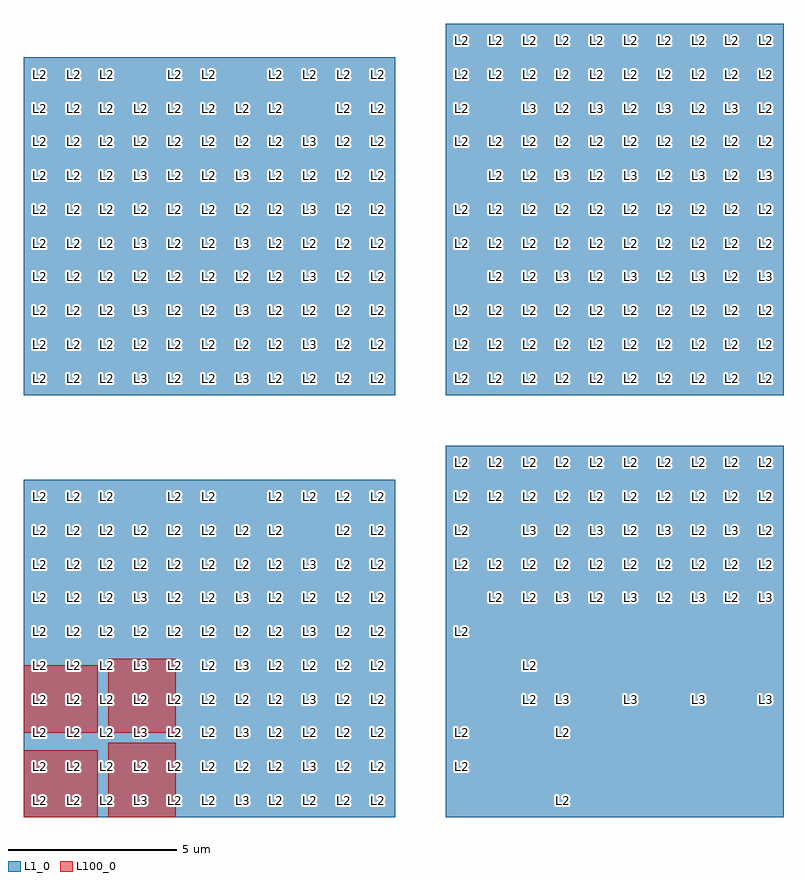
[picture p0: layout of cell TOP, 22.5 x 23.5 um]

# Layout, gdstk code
from math import pi, radians
import gdstk
lib = gdstk.Library(unit=1e-6, precision=1e-09)
def R(c, l, rs):  # rectangles x0, y0, x1, y1
    for r in rs: c.add(gdstk.rectangle(r[:2], r[2:], *l))
def A(c, l, x, y, w, h, nx, ny, dx, dy):  # array of equal rectangles
    R(c, l, [(x+i*dx, y+j*dy, x+i*dx+w, y+j*dy+h) for i in range(nx) for j in range(ny)])
L1_0 = (1, 0)
L100_0 = (100, 0)

c_a = lib.new_cell('A')
R(c_a, L1_0, [(0,0,1,1)])
c_a.add(gdstk.Label('L2', (0.5,0.5), layer=2, texttype=0))

c_b = lib.new_cell('B')
R(c_b, L1_0, [(1,-1,2,0)])
c_b.add(gdstk.Reference(c_a, (-2,0), rotation=pi/2, x_reflection=True))
c_b.add(gdstk.Reference(c_a, (0,0)))
c_b.add(gdstk.Reference(c_a, (1,0)))

c_c = lib.new_cell('C')
R(c_c, L1_0, [(-2.5,-1,-1.5,0), (2.5,0,3.5,1)])
c_c.add(gdstk.Reference(c_a, (-5.5,-1)))
r = gdstk.Reference(c_a, (5.5,-1), rotation=pi/2); r.repetition = gdstk.Repetition(2, 4, v1=(0,1), v2=(-3,0)); c_c.add(r)
c_c.add(gdstk.Reference(c_a, (-3.5,0)))
r = gdstk.Reference(c_a, (3.5,0), rotation=pi); r.repetition = gdstk.Repetition(3, 1, v1=(-3,0), v2=(0,0)); c_c.add(r)
c_c.add(gdstk.Reference(c_a, (-5.5,0)))
c_c.add(gdstk.Reference(c_a, (3.5,0)))
c_c.add(gdstk.Reference(c_a, (3.5,-1)))
c_c.add(gdstk.Reference(c_b, (-0.5,0)))

c_d = lib.new_cell('D')
R(c_d, L1_0, [(3,0,4,1), (6,0,7,1), (8,1,9,2), (3,4,4,5), (6,4,7,5), (8,5,9,6)])
c_d.add(gdstk.Reference(c_a, (0,0)))
r = gdstk.Reference(c_a, (11,0), rotation=pi/2); r.repetition = gdstk.Repetition(2, 4, v1=(0,1), v2=(-3,0)); c_d.add(r)
c_d.add(gdstk.Reference(c_a, (3,1), rotation=pi/2, x_reflection=True))
c_d.add(gdstk.Reference(c_a, (2,1)))
r = gdstk.Reference(c_a, (9,1), rotation=pi); r.repetition = gdstk.Repetition(3, 1, v1=(-3,0), v2=(0,0)); c_d.add(r)
c_d.add(gdstk.Reference(c_a, (0,1)))
c_d.add(gdstk.Reference(c_a, (5,1)))
c_d.add(gdstk.Reference(c_a, (6,1)))
c_d.add(gdstk.Reference(c_a, (9,1)))
c_d.add(gdstk.Reference(c_a, (9,0)))
c_d.add(gdstk.Reference(c_a, (0,4)))
r = gdstk.Reference(c_a, (11,4), rotation=pi/2); r.repetition = gdstk.Repetition(2, 4, v1=(0,1), v2=(-3,0)); c_d.add(r)
c_d.add(gdstk.Reference(c_a, (3,5), rotation=pi/2, x_reflection=True))
c_d.add(gdstk.Reference(c_a, (2,5)))
r = gdstk.Reference(c_a, (9,5), rotation=pi); r.repetition = gdstk.Repetition(3, 1, v1=(-3,0), v2=(0,0)); c_d.add(r)
c_d.add(gdstk.Reference(c_a, (0,5)))
c_d.add(gdstk.Reference(c_a, (5,5)))
c_d.add(gdstk.Reference(c_a, (6,5)))
c_d.add(gdstk.Reference(c_a, (9,5)))
c_d.add(gdstk.Reference(c_a, (9,4)))
r = gdstk.Reference(c_c, (5.5,3)); r.repetition = gdstk.Repetition(1, 2, v1=(0,0), v2=(0,4)); c_d.add(r)
c_d.add(gdstk.Reference(c_c, (5.5,9), x_reflection=True))
c_d.add(gdstk.Label('L3', (3.5,0.5), layer=2, texttype=0))
c_d.add(gdstk.Label('L3', (6.5,0.5), layer=2, texttype=0))
c_d.add(gdstk.Label('L3', (8.5,1.5), layer=2, texttype=0))
c_d.add(gdstk.Label('L3', (6.5,2.5), layer=2, texttype=0))
c_d.add(gdstk.Label('L3', (3.5,2.5), layer=2, texttype=0))
c_d.add(gdstk.Label('L3', (3.5,4.5), layer=2, texttype=0))
c_d.add(gdstk.Label('L3', (6.5,4.5), layer=2, texttype=0))
c_d.add(gdstk.Label('L3', (8.5,3.5), layer=2, texttype=0))
c_d.add(gdstk.Label('L3', (8.5,5.5), layer=2, texttype=0))
c_d.add(gdstk.Label('L3', (6.5,6.5), layer=2, texttype=0))
c_d.add(gdstk.Label('L3', (8.5,7.5), layer=2, texttype=0))
c_d.add(gdstk.Label('L3', (3.5,6.5), layer=2, texttype=0))

top = lib.new_cell('TOP')
R(top, L1_0, [(3,0,4,1), (6,0,7,1), (8,1,9,2), (17.5,3,18.5,4), (21.5,3,22.5,4), (3,4,4,5), (6,4,7,5), (8,5,9,6), (17.5,6,18.5,7), (21.5,6,22.5,7), (16.5,8,17.5,9), (20.5,8,21.5,9)])
A(top, L100_0, 0, 0, 0.209, 0.209, 6, 5, 0.399, 0.399)
A(top, L100_0, 0.209, 0, 0.19, 0.209, 5, 5, 0.399, 0.399)
A(top, L100_0, 2.508, 0, 0.19, 0.209, 5, 6, 0.399, 0.399)
A(top, L100_0, 2.698, 0, 0.209, 0.209, 5, 6, 0.399, 0.399)
A(top, L100_0, 0, 0.209, 0.209, 0.19, 6, 5, 0.399, 0.399)
A(top, L100_0, 0.209, 0.209, 0.19, 0.19, 5, 5, 0.399, 0.399)
A(top, L100_0, 2.508, 0.209, 0.19, 0.19, 5, 5, 0.399, 0.399)
A(top, L100_0, 2.698, 0.209, 0.209, 0.19, 5, 5, 0.399, 0.399)
A(top, L100_0, 0, 2.508, 0.209, 0.19, 6, 5, 0.399, 0.399)
A(top, L100_0, 0.209, 2.508, 0.19, 0.19, 5, 5, 0.399, 0.399)
A(top, L100_0, 2.508, 2.508, 0.19, 0.19, 5, 6, 0.399, 0.399)
A(top, L100_0, 2.698, 2.508, 0.209, 0.19, 5, 6, 0.399, 0.399)
A(top, L100_0, 0, 2.698, 0.209, 0.209, 6, 5, 0.399, 0.399)
A(top, L100_0, 0.209, 2.698, 0.19, 0.209, 5, 5, 0.399, 0.399)
A(top, L100_0, 2.508, 2.698, 0.19, 0.209, 5, 5, 0.399, 0.399)
A(top, L100_0, 2.698, 2.698, 0.209, 0.209, 5, 5, 0.399, 0.399)
top.add(gdstk.Reference(c_a, (0,0)))
r = gdstk.Reference(c_a, (11,0), rotation=pi/2); r.repetition = gdstk.Repetition(2, 4, v1=(0,1), v2=(-3,0)); top.add(r)
top.add(gdstk.Reference(c_a, (3,1), rotation=pi/2, x_reflection=True))
top.add(gdstk.Reference(c_a, (2,1)))
r = gdstk.Reference(c_a, (9,1), rotation=pi); r.repetition = gdstk.Repetition(3, 1, v1=(-3,0), v2=(0,0)); top.add(r)
top.add(gdstk.Reference(c_a, (0,1)))
top.add(gdstk.Reference(c_a, (5,1)))
top.add(gdstk.Reference(c_a, (6,1)))
top.add(gdstk.Reference(c_a, (9,1)))
top.add(gdstk.Reference(c_a, (9,0)))
top.add(gdstk.Reference(c_a, (0,4)))
r = gdstk.Reference(c_a, (11,4), rotation=pi/2); r.repetition = gdstk.Repetition(2, 4, v1=(0,1), v2=(-3,0)); top.add(r)
top.add(gdstk.Reference(c_a, (3,5), rotation=pi/2, x_reflection=True))
top.add(gdstk.Reference(c_a, (2,5)))
r = gdstk.Reference(c_a, (9,5), rotation=pi); r.repetition = gdstk.Repetition(3, 1, v1=(-3,0), v2=(0,0)); top.add(r)
top.add(gdstk.Reference(c_a, (0,5)))
top.add(gdstk.Reference(c_a, (5,5)))
top.add(gdstk.Reference(c_a, (6,5)))
top.add(gdstk.Reference(c_a, (9,5)))
top.add(gdstk.Reference(c_a, (9,4)))
r = gdstk.Reference(c_c, (5.5,3)); r.repetition = gdstk.Repetition(1, 2, v1=(0,0), v2=(0,4)); top.add(r)
top.add(gdstk.Reference(c_c, (5.5,9), x_reflection=True))
top.add(gdstk.Reference(c_a, (22.5,0), rotation=pi/2))
r = gdstk.Reference(c_a, (22.5,11), rotation=pi); r.repetition = gdstk.Repetition(2, 4, v1=(-1,0), v2=(0,-3)); top.add(r)
top.add(gdstk.Reference(c_a, (21.5,3), rotation=pi, x_reflection=True))
top.add(gdstk.Reference(c_a, (21.5,2), rotation=pi/2))
r = gdstk.Reference(c_a, (21.5,9), rotation=3*pi/2); r.repetition = gdstk.Repetition(3, 1, v1=(0,-3), v2=(0,0)); top.add(r)
top.add(gdstk.Reference(c_a, (21.5,0), rotation=pi/2))
top.add(gdstk.Reference(c_a, (21.5,5), rotation=pi/2))
top.add(gdstk.Reference(c_a, (21.5,6), rotation=pi/2))
top.add(gdstk.Reference(c_a, (21.5,9), rotation=pi/2))
top.add(gdstk.Reference(c_a, (22.5,9), rotation=pi/2))
top.add(gdstk.Reference(c_a, (18.5,0), rotation=pi/2))
r = gdstk.Reference(c_a, (18.5,11), rotation=pi); r.repetition = gdstk.Repetition(2, 4, v1=(-1,0), v2=(0,-3)); top.add(r)
top.add(gdstk.Reference(c_a, (17.5,3), rotation=pi, x_reflection=True))
top.add(gdstk.Reference(c_a, (17.5,2), rotation=pi/2))
r = gdstk.Reference(c_a, (17.5,9), rotation=3*pi/2); r.repetition = gdstk.Repetition(3, 1, v1=(0,-3), v2=(0,0)); top.add(r)
top.add(gdstk.Reference(c_a, (17.5,0), rotation=pi/2))
top.add(gdstk.Reference(c_a, (17.5,5), rotation=pi/2))
top.add(gdstk.Reference(c_a, (17.5,6), rotation=pi/2))
top.add(gdstk.Reference(c_a, (17.5,9), rotation=pi/2))
top.add(gdstk.Reference(c_a, (18.5,9), rotation=pi/2))
r = gdstk.Reference(c_c, (19.5,5.5), rotation=pi/2); r.repetition = gdstk.Repetition(1, 2, v1=(0,0), v2=(-4,0)); top.add(r)
top.add(gdstk.Reference(c_c, (13.5,5.5), rotation=pi/2, x_reflection=True))
top.add(gdstk.Reference(c_d, (22.5,12.5), rotation=pi/2))
top.add(gdstk.Reference(c_d, (0,12.5)))
top.add(gdstk.Label('L3', (22,6.5), layer=2, texttype=0))
top.add(gdstk.Label('L3', (21,8.5), layer=2, texttype=0))
top.add(gdstk.Label('L3', (20,6.5), layer=2, texttype=0))
top.add(gdstk.Label('L3', (18,6.5), layer=2, texttype=0))
top.add(gdstk.Label('L3', (19,8.5), layer=2, texttype=0))
top.add(gdstk.Label('L3', (17,8.5), layer=2, texttype=0))
top.add(gdstk.Label('L3', (16,6.5), layer=2, texttype=0))
top.add(gdstk.Label('L3', (15,8.5), layer=2, texttype=0))
top.add(gdstk.Label('L3', (16,3.5), layer=2, texttype=0))
top.add(gdstk.Label('L3', (18,3.5), layer=2, texttype=0))
top.add(gdstk.Label('L3', (22,3.5), layer=2, texttype=0))
top.add(gdstk.Label('L3', (20,3.5), layer=2, texttype=0))
top.add(gdstk.Label('L3', (3.5,0.5), layer=2, texttype=0))
top.add(gdstk.Label('L3', (6.5,0.5), layer=2, texttype=0))
top.add(gdstk.Label('L3', (8.5,1.5), layer=2, texttype=0))
top.add(gdstk.Label('L3', (6.5,2.5), layer=2, texttype=0))
top.add(gdstk.Label('L3', (3.5,2.5), layer=2, texttype=0))
top.add(gdstk.Label('L3', (3.5,4.5), layer=2, texttype=0))
top.add(gdstk.Label('L3', (6.5,4.5), layer=2, texttype=0))
top.add(gdstk.Label('L3', (8.5,3.5), layer=2, texttype=0))
top.add(gdstk.Label('L3', (8.5,5.5), layer=2, texttype=0))
top.add(gdstk.Label('L3', (6.5,6.5), layer=2, texttype=0))
top.add(gdstk.Label('L3', (8.5,7.5), layer=2, texttype=0))
top.add(gdstk.Label('L3', (3.5,6.5), layer=2, texttype=0))
top.add(gdstk.Label('L3', (22,19), layer=3, texttype=0))
top.add(gdstk.Label('L3', (21,21), layer=3, texttype=0))
top.add(gdstk.Label('L3', (20,19), layer=3, texttype=0))
top.add(gdstk.Label('L3', (18,19), layer=3, texttype=0))
top.add(gdstk.Label('L3', (19,21), layer=3, texttype=0))
top.add(gdstk.Label('L3', (17,21), layer=3, texttype=0))
top.add(gdstk.Label('L2', (22,20), layer=3, texttype=0))
top.add(gdstk.Label('L2', (22,23), layer=3, texttype=0))
top.add(gdstk.Label('L2', (21,20), layer=3, texttype=0))
top.add(gdstk.Label('L2', (21,23), layer=3, texttype=0))
top.add(gdstk.Label('L2', (22,18), layer=3, texttype=0))
top.add(gdstk.Label('L2', (22,21), layer=3, texttype=0))
top.add(gdstk.Label('L2', (21,18), layer=3, texttype=0))
top.add(gdstk.Label('L2', (21,19), layer=3, texttype=0))
top.add(gdstk.Label('L2', (21,22), layer=3, texttype=0))
top.add(gdstk.Label('L2', (22,22), layer=3, texttype=0))
top.add(gdstk.Label('L2', (18,20), layer=3, texttype=0))
top.add(gdstk.Label('L2', (18,23), layer=3, texttype=0))
top.add(gdstk.Label('L2', (17,20), layer=3, texttype=0))
top.add(gdstk.Label('L2', (17,23), layer=3, texttype=0))
top.add(gdstk.Label('L2', (18,18), layer=3, texttype=0))
top.add(gdstk.Label('L2', (18,21), layer=3, texttype=0))
top.add(gdstk.Label('L2', (17,18), layer=3, texttype=0))
top.add(gdstk.Label('L2', (17,19), layer=3, texttype=0))
top.add(gdstk.Label('L2', (17,22), layer=3, texttype=0))
top.add(gdstk.Label('L2', (18,22), layer=3, texttype=0))
top.add(gdstk.Label('L2', (20,20), layer=3, texttype=0))
top.add(gdstk.Label('L2', (20,23), layer=3, texttype=0))
top.add(gdstk.Label('L2', (19,20), layer=3, texttype=0))
top.add(gdstk.Label('L2', (19,23), layer=3, texttype=0))
top.add(gdstk.Label('L2', (20,18), layer=3, texttype=0))
top.add(gdstk.Label('L2', (20,21), layer=3, texttype=0))
top.add(gdstk.Label('L2', (19,22), layer=3, texttype=0))
top.add(gdstk.Label('L2', (20,22), layer=3, texttype=0))
top.add(gdstk.Label('L2', (19,18), layer=3, texttype=0))
top.add(gdstk.Label('L2', (19,19), layer=3, texttype=0))
top.add(gdstk.Label('L3', (16,19), layer=3, texttype=0))
top.add(gdstk.Label('L3', (15,21), layer=3, texttype=0))
top.add(gdstk.Label('L2', (16,20), layer=3, texttype=0))
top.add(gdstk.Label('L2', (16,23), layer=3, texttype=0))
top.add(gdstk.Label('L2', (15,20), layer=3, texttype=0))
top.add(gdstk.Label('L2', (15,23), layer=3, texttype=0))
top.add(gdstk.Label('L2', (16,18), layer=3, texttype=0))
top.add(gdstk.Label('L2', (16,21), layer=3, texttype=0))
top.add(gdstk.Label('L2', (15,22), layer=3, texttype=0))
top.add(gdstk.Label('L2', (16,22), layer=3, texttype=0))
top.add(gdstk.Label('L2', (15,18), layer=3, texttype=0))
top.add(gdstk.Label('L2', (15,19), layer=3, texttype=0))
top.add(gdstk.Label('L2', (13,20), layer=3, texttype=0))
top.add(gdstk.Label('L2', (13,23), layer=3, texttype=0))
top.add(gdstk.Label('L2', (14,20), layer=3, texttype=0))
top.add(gdstk.Label('L2', (14,23), layer=3, texttype=0))
top.add(gdstk.Label('L2', (13,18), layer=3, texttype=0))
top.add(gdstk.Label('L2', (13,21), layer=3, texttype=0))
top.add(gdstk.Label('L2', (14,22), layer=3, texttype=0))
top.add(gdstk.Label('L2', (13,22), layer=3, texttype=0))
top.add(gdstk.Label('L2', (14,18), layer=3, texttype=0))
top.add(gdstk.Label('L2', (14,19), layer=3, texttype=0))
top.add(gdstk.Label('L2', (13,13), layer=3, texttype=0))
top.add(gdstk.Label('L2', (13,14), layer=3, texttype=0))
top.add(gdstk.Label('L2', (13,17), layer=3, texttype=0))
top.add(gdstk.Label('L2', (15,15), layer=3, texttype=0))
top.add(gdstk.Label('L2', (16,15), layer=3, texttype=0))
top.add(gdstk.Label('L2', (14,14), layer=3, texttype=0))
top.add(gdstk.Label('L2', (14,17), layer=3, texttype=0))
top.add(gdstk.Label('L3', (16,16), layer=3, texttype=0))
top.add(gdstk.Label('L2', (16,13), layer=3, texttype=0))
top.add(gdstk.Label('L2', (14,15), layer=3, texttype=0))
top.add(gdstk.Label('L2', (13,15), layer=3, texttype=0))
top.add(gdstk.Label('L2', (15,13), layer=3, texttype=0))
top.add(gdstk.Label('L2', (15,14), layer=3, texttype=0))
top.add(gdstk.Label('L2', (14,13), layer=3, texttype=0))
top.add(gdstk.Label('L2', (15,17), layer=3, texttype=0))
top.add(gdstk.Label('L2', (15,16), layer=3, texttype=0))
top.add(gdstk.Label('L2', (14,16), layer=3, texttype=0))
top.add(gdstk.Label('L2', (16,14), layer=3, texttype=0))
top.add(gdstk.Label('L2', (16,17), layer=3, texttype=0))
top.add(gdstk.Label('L2', (21,13), layer=3, texttype=0))
top.add(gdstk.Label('L3', (22,16), layer=3, texttype=0))
top.add(gdstk.Label('L3', (20,16), layer=3, texttype=0))
top.add(gdstk.Label('L2', (20,13), layer=3, texttype=0))
top.add(gdstk.Label('L2', (20,14), layer=3, texttype=0))
top.add(gdstk.Label('L2', (20,17), layer=3, texttype=0))
top.add(gdstk.Label('L2', (21,14), layer=3, texttype=0))
top.add(gdstk.Label('L2', (21,17), layer=3, texttype=0))
top.add(gdstk.Label('L2', (19,14), layer=3, texttype=0))
top.add(gdstk.Label('L2', (19,17), layer=3, texttype=0))
top.add(gdstk.Label('L2', (18,13), layer=3, texttype=0))
top.add(gdstk.Label('L2', (18,14), layer=3, texttype=0))
top.add(gdstk.Label('L2', (19,15), layer=3, texttype=0))
top.add(gdstk.Label('L2', (20,15), layer=3, texttype=0))
top.add(gdstk.Label('L2', (18,17), layer=3, texttype=0))
top.add(gdstk.Label('L3', (18,16), layer=3, texttype=0))
top.add(gdstk.Label('L2', (19,13), layer=3, texttype=0))
top.add(gdstk.Label('L2', (22,13), layer=3, texttype=0))
top.add(gdstk.Label('L2', (17,14), layer=3, texttype=0))
top.add(gdstk.Label('L2', (19,16), layer=3, texttype=0))
top.add(gdstk.Label('L2', (17,17), layer=3, texttype=0))
top.add(gdstk.Label('L2', (21,16), layer=3, texttype=0))
top.add(gdstk.Label('L2', (21,15), layer=3, texttype=0))
top.add(gdstk.Label('L2', (17,16), layer=3, texttype=0))
top.add(gdstk.Label('L2', (17,15), layer=3, texttype=0))
top.add(gdstk.Label('L2', (18,15), layer=3, texttype=0))
top.add(gdstk.Label('L2', (22,15), layer=3, texttype=0))
top.add(gdstk.Label('L2', (22,14), layer=3, texttype=0))
top.add(gdstk.Label('L2', (17,13), layer=3, texttype=0))
top.add(gdstk.Label('L2', (22,17), layer=3, texttype=0))
top.add(gdstk.Label('L2', (10.5,21), layer=3, texttype=0))
top.add(gdstk.Label('L2', (8.5,22), layer=3, texttype=0))
top.add(gdstk.Label('L2', (9.5,21), layer=3, texttype=0))
top.add(gdstk.Label('L2', (9.5,22), layer=3, texttype=0))
top.add(gdstk.Label('L2', (6.5,21), layer=3, texttype=0))
top.add(gdstk.Label('L2', (7.5,20), layer=3, texttype=0))
top.add(gdstk.Label('L2', (10.5,20), layer=3, texttype=0))
top.add(gdstk.Label('L2', (8.5,19), layer=3, texttype=0))
top.add(gdstk.Label('L2', (9.5,20), layer=3, texttype=0))
top.add(gdstk.Label('L2', (9.5,19), layer=3, texttype=0))
top.add(gdstk.Label('L2', (6.5,20), layer=3, texttype=0))
top.add(gdstk.Label('L2', (7.5,22), layer=3, texttype=0))
top.add(gdstk.Label('L2', (10.5,22), layer=3, texttype=0))
top.add(gdstk.Label('L2', (7.5,21), layer=3, texttype=0))
top.add(gdstk.Label('L3', (8.5,18), layer=3, texttype=0))
top.add(gdstk.Label('L3', (6.5,19), layer=3, texttype=0))
top.add(gdstk.Label('L3', (8.5,20), layer=3, texttype=0))
top.add(gdstk.Label('L2', (7.5,18), layer=3, texttype=0))
top.add(gdstk.Label('L2', (10.5,18), layer=3, texttype=0))
top.add(gdstk.Label('L2', (6.5,18), layer=3, texttype=0))
top.add(gdstk.Label('L2', (9.5,18), layer=3, texttype=0))
top.add(gdstk.Label('L2', (7.5,19), layer=3, texttype=0))
top.add(gdstk.Label('L2', (10.5,19), layer=3, texttype=0))
top.add(gdstk.Label('L2', (3.5,18), layer=3, texttype=0))
top.add(gdstk.Label('L2', (2.5,21), layer=3, texttype=0))
top.add(gdstk.Label('L2', (2.5,22), layer=3, texttype=0))
top.add(gdstk.Label('L2', (5.5,22), layer=3, texttype=0))
top.add(gdstk.Label('L2', (1.5,20), layer=3, texttype=0))
top.add(gdstk.Label('L2', (0.5,21), layer=3, texttype=0))
top.add(gdstk.Label('L2', (4.5,20), layer=3, texttype=0))
top.add(gdstk.Label('L2', (2.5,18), layer=3, texttype=0))
top.add(gdstk.Label('L2', (3.5,21), layer=3, texttype=0))
top.add(gdstk.Label('L2', (5.5,21), layer=3, texttype=0))
top.add(gdstk.Label('L2', (0.5,18), layer=3, texttype=0))
top.add(gdstk.Label('L2', (2.5,20), layer=3, texttype=0))
top.add(gdstk.Label('L2', (2.5,19), layer=3, texttype=0))
top.add(gdstk.Label('L2', (5.5,19), layer=3, texttype=0))
top.add(gdstk.Label('L2', (5.5,18), layer=3, texttype=0))
top.add(gdstk.Label('L2', (0.5,20), layer=3, texttype=0))
top.add(gdstk.Label('L2', (4.5,18), layer=3, texttype=0))
top.add(gdstk.Label('L3', (3.5,19), layer=3, texttype=0))
top.add(gdstk.Label('L2', (3.5,20), layer=3, texttype=0))
top.add(gdstk.Label('L2', (5.5,20), layer=3, texttype=0))
top.add(gdstk.Label('L2', (0.5,19), layer=3, texttype=0))
top.add(gdstk.Label('L2', (0.5,22), layer=3, texttype=0))
top.add(gdstk.Label('L2', (1.5,22), layer=3, texttype=0))
top.add(gdstk.Label('L2', (4.5,22), layer=3, texttype=0))
top.add(gdstk.Label('L2', (1.5,19), layer=3, texttype=0))
top.add(gdstk.Label('L2', (4.5,19), layer=3, texttype=0))
top.add(gdstk.Label('L2', (1.5,21), layer=3, texttype=0))
top.add(gdstk.Label('L2', (4.5,21), layer=3, texttype=0))
top.add(gdstk.Label('L2', (1.5,18), layer=3, texttype=0))
top.add(gdstk.Label('L2', (5.5,15), layer=3, texttype=0))
top.add(gdstk.Label('L2', (0.5,16), layer=3, texttype=0))
top.add(gdstk.Label('L2', (3.5,16), layer=3, texttype=0))
top.add(gdstk.Label('L2', (5.5,16), layer=3, texttype=0))
top.add(gdstk.Label('L2', (2.5,13), layer=3, texttype=0))
top.add(gdstk.Label('L2', (5.5,13), layer=3, texttype=0))
top.add(gdstk.Label('L2', (0.5,14), layer=3, texttype=0))
top.add(gdstk.Label('L2', (5.5,14), layer=3, texttype=0))
top.add(gdstk.Label('L2', (0.5,17), layer=3, texttype=0))
top.add(gdstk.Label('L2', (1.5,17), layer=3, texttype=0))
top.add(gdstk.Label('L2', (4.5,17), layer=3, texttype=0))
top.add(gdstk.Label('L3', (3.5,13), layer=3, texttype=0))
top.add(gdstk.Label('L3', (3.5,15), layer=3, texttype=0))
top.add(gdstk.Label('L3', (3.5,17), layer=3, texttype=0))
top.add(gdstk.Label('L2', (0.5,13), layer=3, texttype=0))
top.add(gdstk.Label('L2', (1.5,13), layer=3, texttype=0))
top.add(gdstk.Label('L2', (4.5,13), layer=3, texttype=0))
top.add(gdstk.Label('L2', (2.5,17), layer=3, texttype=0))
top.add(gdstk.Label('L2', (5.5,17), layer=3, texttype=0))
top.add(gdstk.Label('L2', (1.5,14), layer=3, texttype=0))
top.add(gdstk.Label('L2', (4.5,14), layer=3, texttype=0))
top.add(gdstk.Label('L2', (3.5,14), layer=3, texttype=0))
top.add(gdstk.Label('L2', (2.5,14), layer=3, texttype=0))
top.add(gdstk.Label('L2', (0.5,15), layer=3, texttype=0))
top.add(gdstk.Label('L2', (1.5,15), layer=3, texttype=0))
top.add(gdstk.Label('L2', (4.5,15), layer=3, texttype=0))
top.add(gdstk.Label('L2', (1.5,16), layer=3, texttype=0))
top.add(gdstk.Label('L2', (4.5,16), layer=3, texttype=0))
top.add(gdstk.Label('L2', (2.5,16), layer=3, texttype=0))
top.add(gdstk.Label('L2', (2.5,15), layer=3, texttype=0))
top.add(gdstk.Label('L2', (10.5,14), layer=3, texttype=0))
top.add(gdstk.Label('L2', (7.5,17), layer=3, texttype=0))
top.add(gdstk.Label('L2', (10.5,17), layer=3, texttype=0))
top.add(gdstk.Label('L2', (7.5,15), layer=3, texttype=0))
top.add(gdstk.Label('L2', (10.5,15), layer=3, texttype=0))
top.add(gdstk.Label('L3', (6.5,15), layer=3, texttype=0))
top.add(gdstk.Label('L3', (8.5,16), layer=3, texttype=0))
top.add(gdstk.Label('L2', (7.5,16), layer=3, texttype=0))
top.add(gdstk.Label('L2', (10.5,16), layer=3, texttype=0))
top.add(gdstk.Label('L3', (8.5,14), layer=3, texttype=0))
top.add(gdstk.Label('L2', (7.5,13), layer=3, texttype=0))
top.add(gdstk.Label('L2', (8.5,13), layer=3, texttype=0))
top.add(gdstk.Label('L2', (8.5,15), layer=3, texttype=0))
top.add(gdstk.Label('L2', (10.5,13), layer=3, texttype=0))
top.add(gdstk.Label('L2', (9.5,16), layer=3, texttype=0))
top.add(gdstk.Label('L2', (9.5,15), layer=3, texttype=0))
top.add(gdstk.Label('L3', (6.5,13), layer=3, texttype=0))
top.add(gdstk.Label('L2', (6.5,14), layer=3, texttype=0))
top.add(gdstk.Label('L2', (6.5,16), layer=3, texttype=0))
top.add(gdstk.Label('L2', (8.5,17), layer=3, texttype=0))
top.add(gdstk.Label('L2', (9.5,14), layer=3, texttype=0))
top.add(gdstk.Label('L2', (9.5,13), layer=3, texttype=0))
top.add(gdstk.Label('L3', (6.5,17), layer=3, texttype=0))
top.add(gdstk.Label('L2', (7.5,14), layer=3, texttype=0))
top.add(gdstk.Label('L2', (9.5,17), layer=3, texttype=0))
top.add(gdstk.Label('L2', (7.5,6.5), layer=3, texttype=0))
top.add(gdstk.Label('L2', (10.5,6.5), layer=3, texttype=0))
top.add(gdstk.Label('L2', (7.5,7.5), layer=3, texttype=0))
top.add(gdstk.Label('L2', (10.5,7.5), layer=3, texttype=0))
top.add(gdstk.Label('L2', (8.5,6.5), layer=3, texttype=0))
top.add(gdstk.Label('L2', (9.5,7.5), layer=3, texttype=0))
top.add(gdstk.Label('L2', (9.5,6.5), layer=3, texttype=0))
top.add(gdstk.Label('L2', (6.5,7.5), layer=3, texttype=0))
top.add(gdstk.Label('L2', (7.5,9.5), layer=3, texttype=0))
top.add(gdstk.Label('L2', (10.5,9.5), layer=3, texttype=0))
top.add(gdstk.Label('L2', (7.5,8.5), layer=3, texttype=0))
top.add(gdstk.Label('L2', (10.5,8.5), layer=3, texttype=0))
top.add(gdstk.Label('L2', (8.5,9.5), layer=3, texttype=0))
top.add(gdstk.Label('L2', (9.5,8.5), layer=3, texttype=0))
top.add(gdstk.Label('L2', (9.5,9.5), layer=3, texttype=0))
top.add(gdstk.Label('L2', (6.5,8.5), layer=3, texttype=0))
top.add(gdstk.Label('L3', (6.5,6.5), layer=3, texttype=0))
top.add(gdstk.Label('L3', (8.5,7.5), layer=3, texttype=0))
top.add(gdstk.Label('L2', (5.5,7.5), layer=3, texttype=0))
top.add(gdstk.Label('L3', (3.5,6.5), layer=3, texttype=0))
top.add(gdstk.Label('L2', (4.5,7.5), layer=3, texttype=0))
top.add(gdstk.Label('L2', (3.5,7.5), layer=3, texttype=0))
top.add(gdstk.Label('L2', (4.5,6.5), layer=3, texttype=0))
top.add(gdstk.Label('L2', (0.5,9.5), layer=3, texttype=0))
top.add(gdstk.Label('L2', (1.5,9.5), layer=3, texttype=0))
top.add(gdstk.Label('L2', (4.5,9.5), layer=3, texttype=0))
top.add(gdstk.Label('L2', (0.5,6.5), layer=3, texttype=0))
top.add(gdstk.Label('L2', (2.5,7.5), layer=3, texttype=0))
top.add(gdstk.Label('L2', (1.5,8.5), layer=3, texttype=0))
top.add(gdstk.Label('L2', (4.5,8.5), layer=3, texttype=0))
top.add(gdstk.Label('L2', (2.5,6.5), layer=3, texttype=0))
top.add(gdstk.Label('L2', (5.5,6.5), layer=3, texttype=0))
top.add(gdstk.Label('L2', (2.5,8.5), layer=3, texttype=0))
top.add(gdstk.Label('L2', (2.5,9.5), layer=3, texttype=0))
top.add(gdstk.Label('L2', (5.5,9.5), layer=3, texttype=0))
top.add(gdstk.Label('L2', (1.5,6.5), layer=3, texttype=0))
top.add(gdstk.Label('L2', (0.5,8.5), layer=3, texttype=0))
top.add(gdstk.Label('L2', (0.5,7.5), layer=3, texttype=0))
top.add(gdstk.Label('L2', (1.5,7.5), layer=3, texttype=0))
top.add(gdstk.Label('L2', (3.5,8.5), layer=3, texttype=0))
top.add(gdstk.Label('L2', (5.5,8.5), layer=3, texttype=0))
top.add(gdstk.Label('L2', (2.5,5.5), layer=3, texttype=0))
top.add(gdstk.Label('L2', (2.5,3.5), layer=3, texttype=0))
top.add(gdstk.Label('L2', (5.5,1.5), layer=3, texttype=0))
top.add(gdstk.Label('L2', (2.5,2.5), layer=3, texttype=0))
top.add(gdstk.Label('L2', (2.5,4.5), layer=3, texttype=0))
top.add(gdstk.Label('L2', (5.5,2.5), layer=3, texttype=0))
top.add(gdstk.Label('L2', (4.5,4.5), layer=3, texttype=0))
top.add(gdstk.Label('L2', (0.5,3.5), layer=3, texttype=0))
top.add(gdstk.Label('L2', (5.5,4.5), layer=3, texttype=0))
top.add(gdstk.Label('L2', (3.5,3.5), layer=3, texttype=0))
top.add(gdstk.Label('L2', (0.5,1.5), layer=3, texttype=0))
top.add(gdstk.Label('L2', (5.5,3.5), layer=3, texttype=0))
top.add(gdstk.Label('L2', (0.5,5.5), layer=3, texttype=0))
top.add(gdstk.Label('L2', (0.5,0.5), layer=3, texttype=0))
top.add(gdstk.Label('L2', (1.5,5.5), layer=3, texttype=0))
top.add(gdstk.Label('L2', (1.5,0.5), layer=3, texttype=0))
top.add(gdstk.Label('L2', (5.5,5.5), layer=3, texttype=0))
top.add(gdstk.Label('L2', (4.5,0.5), layer=3, texttype=0))
top.add(gdstk.Label('L2', (0.5,4.5), layer=3, texttype=0))
top.add(gdstk.Label('L2', (1.5,1.5), layer=3, texttype=0))
top.add(gdstk.Label('L2', (0.5,2.5), layer=3, texttype=0))
top.add(gdstk.Label('L2', (4.5,1.5), layer=3, texttype=0))
top.add(gdstk.Label('L2', (4.5,5.5), layer=3, texttype=0))
top.add(gdstk.Label('L3', (3.5,0.5), layer=3, texttype=0))
top.add(gdstk.Label('L2', (1.5,2.5), layer=3, texttype=0))
top.add(gdstk.Label('L3', (3.5,2.5), layer=3, texttype=0))
top.add(gdstk.Label('L2', (5.5,0.5), layer=3, texttype=0))
top.add(gdstk.Label('L3', (3.5,4.5), layer=3, texttype=0))
top.add(gdstk.Label('L2', (4.5,2.5), layer=3, texttype=0))
top.add(gdstk.Label('L2', (3.5,1.5), layer=3, texttype=0))
top.add(gdstk.Label('L2', (3.5,5.5), layer=3, texttype=0))
top.add(gdstk.Label('L2', (2.5,1.5), layer=3, texttype=0))
top.add(gdstk.Label('L2', (1.5,3.5), layer=3, texttype=0))
top.add(gdstk.Label('L2', (2.5,0.5), layer=3, texttype=0))
top.add(gdstk.Label('L2', (1.5,4.5), layer=3, texttype=0))
top.add(gdstk.Label('L2', (4.5,3.5), layer=3, texttype=0))
top.add(gdstk.Label('L3', (8.5,5.5), layer=3, texttype=0))
top.add(gdstk.Label('L2', (10.5,0.5), layer=3, texttype=0))
top.add(gdstk.Label('L2', (8.5,2.5), layer=3, texttype=0))
top.add(gdstk.Label('L2', (9.5,4.5), layer=3, texttype=0))
top.add(gdstk.Label('L2', (9.5,0.5), layer=3, texttype=0))
top.add(gdstk.Label('L2', (7.5,5.5), layer=3, texttype=0))
top.add(gdstk.Label('L2', (9.5,3.5), layer=3, texttype=0))
top.add(gdstk.Label('L2', (8.5,0.5), layer=3, texttype=0))
top.add(gdstk.Label('L2', (7.5,3.5), layer=3, texttype=0))
top.add(gdstk.Label('L2', (7.5,4.5), layer=3, texttype=0))
top.add(gdstk.Label('L2', (10.5,3.5), layer=3, texttype=0))
top.add(gdstk.Label('L2', (8.5,4.5), layer=3, texttype=0))
top.add(gdstk.Label('L2', (10.5,5.5), layer=3, texttype=0))
top.add(gdstk.Label('L2', (10.5,4.5), layer=3, texttype=0))
top.add(gdstk.Label('L3', (6.5,0.5), layer=3, texttype=0))
top.add(gdstk.Label('L2', (6.5,5.5), layer=3, texttype=0))
top.add(gdstk.Label('L3', (8.5,1.5), layer=3, texttype=0))
top.add(gdstk.Label('L2', (7.5,0.5), layer=3, texttype=0))
top.add(gdstk.Label('L3', (6.5,2.5), layer=3, texttype=0))
top.add(gdstk.Label('L2', (10.5,1.5), layer=3, texttype=0))
top.add(gdstk.Label('L2', (6.5,1.5), layer=3, texttype=0))
top.add(gdstk.Label('L2', (7.5,2.5), layer=3, texttype=0))
top.add(gdstk.Label('L2', (9.5,1.5), layer=3, texttype=0))
top.add(gdstk.Label('L2', (9.5,5.5), layer=3, texttype=0))
top.add(gdstk.Label('L3', (6.5,4.5), layer=3, texttype=0))
top.add(gdstk.Label('L2', (10.5,2.5), layer=3, texttype=0))
top.add(gdstk.Label('L3', (8.5,3.5), layer=3, texttype=0))
top.add(gdstk.Label('L2', (9.5,2.5), layer=3, texttype=0))
top.add(gdstk.Label('L2', (6.5,3.5), layer=3, texttype=0))
top.add(gdstk.Label('L2', (7.5,1.5), layer=3, texttype=0))
top.add(gdstk.Label('L3', (22,6.5), layer=3, texttype=0))
top.add(gdstk.Label('L3', (21,8.5), layer=3, texttype=0))
top.add(gdstk.Label('L3', (20,6.5), layer=3, texttype=0))
top.add(gdstk.Label('L3', (18,6.5), layer=3, texttype=0))
top.add(gdstk.Label('L3', (19,8.5), layer=3, texttype=0))
top.add(gdstk.Label('L3', (17,8.5), layer=3, texttype=0))
top.add(gdstk.Label('L2', (21,7.5), layer=3, texttype=0))
top.add(gdstk.Label('L2', (22,7.5), layer=3, texttype=0))
top.add(gdstk.Label('L2', (21,10.5), layer=3, texttype=0))
top.add(gdstk.Label('L2', (22,10.5), layer=3, texttype=0))
top.add(gdstk.Label('L2', (22,8.5), layer=3, texttype=0))
top.add(gdstk.Label('L2', (21,6.5), layer=3, texttype=0))
top.add(gdstk.Label('L2', (21,9.5), layer=3, texttype=0))
top.add(gdstk.Label('L2', (22,9.5), layer=3, texttype=0))
top.add(gdstk.Label('L2', (17,7.5), layer=3, texttype=0))
top.add(gdstk.Label('L2', (18,7.5), layer=3, texttype=0))
top.add(gdstk.Label('L2', (17,10.5), layer=3, texttype=0))
top.add(gdstk.Label('L2', (18,10.5), layer=3, texttype=0))
top.add(gdstk.Label('L2', (18,8.5), layer=3, texttype=0))
top.add(gdstk.Label('L2', (17,6.5), layer=3, texttype=0))
top.add(gdstk.Label('L2', (17,9.5), layer=3, texttype=0))
top.add(gdstk.Label('L2', (18,9.5), layer=3, texttype=0))
top.add(gdstk.Label('L2', (20,7.5), layer=3, texttype=0))
top.add(gdstk.Label('L2', (20,10.5), layer=3, texttype=0))
top.add(gdstk.Label('L2', (19,7.5), layer=3, texttype=0))
top.add(gdstk.Label('L2', (19,10.5), layer=3, texttype=0))
top.add(gdstk.Label('L2', (20,8.5), layer=3, texttype=0))
top.add(gdstk.Label('L2', (19,9.5), layer=3, texttype=0))
top.add(gdstk.Label('L2', (20,9.5), layer=3, texttype=0))
top.add(gdstk.Label('L2', (19,6.5), layer=3, texttype=0))
top.add(gdstk.Label('L2', (16,7.5), layer=3, texttype=0))
top.add(gdstk.Label('L2', (16,10.5), layer=3, texttype=0))
top.add(gdstk.Label('L2', (15,7.5), layer=3, texttype=0))
top.add(gdstk.Label('L2', (15,10.5), layer=3, texttype=0))
top.add(gdstk.Label('L2', (16,8.5), layer=3, texttype=0))
top.add(gdstk.Label('L2', (15,9.5), layer=3, texttype=0))
top.add(gdstk.Label('L2', (16,9.5), layer=3, texttype=0))
top.add(gdstk.Label('L2', (15,6.5), layer=3, texttype=0))
top.add(gdstk.Label('L2', (14,7.5), layer=3, texttype=0))
top.add(gdstk.Label('L2', (14,10.5), layer=3, texttype=0))
top.add(gdstk.Label('L2', (13,8.5), layer=3, texttype=0))
top.add(gdstk.Label('L2', (14,9.5), layer=3, texttype=0))
top.add(gdstk.Label('L2', (13,9.5), layer=3, texttype=0))
top.add(gdstk.Label('L2', (14,6.5), layer=3, texttype=0))
top.add(gdstk.Label('L3', (16,6.5), layer=3, texttype=0))
top.add(gdstk.Label('L3', (15,8.5), layer=3, texttype=0))
top.add(gdstk.Label('L2', (13,7.5), layer=3, texttype=0))
top.add(gdstk.Label('L2', (13,10.5), layer=3, texttype=0))
top.add(gdstk.Label('L2', (13,1.5), layer=3, texttype=0))
top.add(gdstk.Label('L2', (15,3.5), layer=3, texttype=0))
top.add(gdstk.Label('L2', (16,2.5), layer=3, texttype=0))
top.add(gdstk.Label('L2', (13,2.5), layer=3, texttype=0))
top.add(gdstk.Label('L2', (13,5.5), layer=3, texttype=0))
top.add(gdstk.Label('L2', (16,0.5), layer=3, texttype=0))
top.add(gdstk.Label('L2', (15,4.5), layer=3, texttype=0))
top.add(gdstk.Label('L2', (15,5.5), layer=3, texttype=0))
top.add(gdstk.Label('L2', (14,5.5), layer=3, texttype=0))
top.add(gdstk.Label('L2', (14,1.5), layer=3, texttype=0))
top.add(gdstk.Label('L2', (15,2.5), layer=3, texttype=0))
top.add(gdstk.Label('L2', (16,1.5), layer=3, texttype=0))
top.add(gdstk.Label('L2', (16,4.5), layer=3, texttype=0))
top.add(gdstk.Label('L2', (15,1.5), layer=3, texttype=0))
top.add(gdstk.Label('L2', (13,0.5), layer=3, texttype=0))
top.add(gdstk.Label('L2', (14,2.5), layer=3, texttype=0))
top.add(gdstk.Label('L2', (14,0.5), layer=3, texttype=0))
top.add(gdstk.Label('L2', (14,4.5), layer=3, texttype=0))
top.add(gdstk.Label('L2', (13,4.5), layer=3, texttype=0))
top.add(gdstk.Label('L2', (16,5.5), layer=3, texttype=0))
top.add(gdstk.Label('L3', (16,3.5), layer=3, texttype=0))
top.add(gdstk.Label('L2', (14,3.5), layer=3, texttype=0))
top.add(gdstk.Label('L2', (15,0.5), layer=3, texttype=0))
top.add(gdstk.Label('L2', (19,2.5), layer=3, texttype=0))
top.add(gdstk.Label('L2', (21,5.5), layer=3, texttype=0))
top.add(gdstk.Label('L2', (18,5.5), layer=3, texttype=0))
top.add(gdstk.Label('L2', (21,0.5), layer=3, texttype=0))
top.add(gdstk.Label('L2', (20,2.5), layer=3, texttype=0))
top.add(gdstk.Label('L2', (17,0.5), layer=3, texttype=0))
top.add(gdstk.Label('L2', (17,4.5), layer=3, texttype=0))
top.add(gdstk.Label('L2', (17,1.5), layer=3, texttype=0))
top.add(gdstk.Label('L2', (20,5.5), layer=3, texttype=0))
top.add(gdstk.Label('L2', (22,1.5), layer=3, texttype=0))
top.add(gdstk.Label('L2', (20,0.5), layer=3, texttype=0))
top.add(gdstk.Label('L2', (19,1.5), layer=3, texttype=0))
top.add(gdstk.Label('L2', (22,2.5), layer=3, texttype=0))
top.add(gdstk.Label('L2', (17,2.5), layer=3, texttype=0))
top.add(gdstk.Label('L2', (18,4.5), layer=3, texttype=0))
top.add(gdstk.Label('L2', (22,4.5), layer=3, texttype=0))
top.add(gdstk.Label('L2', (19,0.5), layer=3, texttype=0))
top.add(gdstk.Label('L2', (18,1.5), layer=3, texttype=0))
top.add(gdstk.Label('L2', (19,4.5), layer=3, texttype=0))
top.add(gdstk.Label('L2', (20,1.5), layer=3, texttype=0))
top.add(gdstk.Label('L2', (22,5.5), layer=3, texttype=0))
top.add(gdstk.Label('L2', (22,0.5), layer=3, texttype=0))
top.add(gdstk.Label('L3', (20,3.5), layer=3, texttype=0))
top.add(gdstk.Label('L2', (17,3.5), layer=3, texttype=0))
top.add(gdstk.Label('L2', (21,1.5), layer=3, texttype=0))
top.add(gdstk.Label('L2', (17,5.5), layer=3, texttype=0))
top.add(gdstk.Label('L3', (22,3.5), layer=3, texttype=0))
top.add(gdstk.Label('L2', (20,4.5), layer=3, texttype=0))
top.add(gdstk.Label('L2', (19,3.5), layer=3, texttype=0))
top.add(gdstk.Label('L2', (18,2.5), layer=3, texttype=0))
top.add(gdstk.Label('L3', (18,3.5), layer=3, texttype=0))
top.add(gdstk.Label('L2', (21,2.5), layer=3, texttype=0))
top.add(gdstk.Label('L2', (19,5.5), layer=3, texttype=0))
top.add(gdstk.Label('L2', (18,0.5), layer=3, texttype=0))
top.add(gdstk.Label('L2', (21,4.5), layer=3, texttype=0))
top.add(gdstk.Label('L2', (21,3.5), layer=3, texttype=0))

lib.write_gds('TOP.gds')
